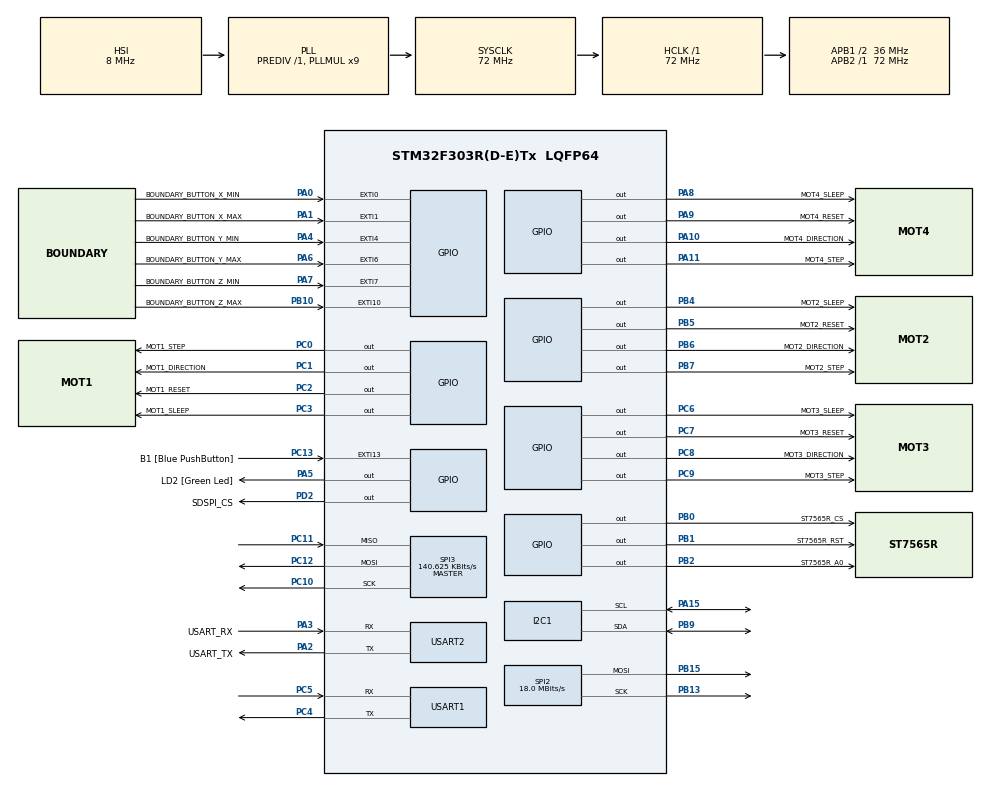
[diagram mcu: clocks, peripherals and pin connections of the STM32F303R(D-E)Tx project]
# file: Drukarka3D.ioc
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Mcu.Family=STM32F3
Mcu.Name=STM32F303R(D-E)Tx
Mcu.Package=LQFP64
NVIC.EXTI0_IRQn=true\:0\:0\:false\:false\:true\:true\:true
NVIC.EXTI15_10_IRQn=true\:0\:0\:false\:false\:true\:true\:true
NVIC.EXTI1_IRQn=true\:0\:0\:false\:false\:true\:true\:true
NVIC.EXTI4_IRQn=true\:0\:0\:false\:false\:true\:true\:true
NVIC.EXTI9_5_IRQn=true\:0\:0\:false\:false\:true\:true\:true
NVIC.PriorityGroup=NVIC_PRIORITYGROUP_0
NVIC.SPI2_IRQn=true\:0\:0\:false\:false\:true\:true\:true
NVIC.TIM1_UP_TIM16_IRQn=true\:0\:0\:false\:false\:true\:true\:true
NVIC.TIM6_DAC_IRQn=true\:0\:0\:false\:false\:true\:true\:true
NVIC.USART1_IRQn=true\:0\:0\:false\:false\:true\:true\:true
NVIC.USART2_IRQn=true\:0\:0\:false\:false\:true\:true\:true
PA0.GPIO_Label=BOUNDARY_BUTTON_X_MIN
PA0.GPIO_ModeDefaultEXTI=GPIO_MODE_IT_RISING_FALLING
PA0.GPIO_PuPd=GPIO_PULLUP
PA0.Signal=GPXTI0
PA1.GPIO_Label=BOUNDARY_BUTTON_X_MAX
PA1.GPIO_ModeDefaultEXTI=GPIO_MODE_IT_RISING_FALLING
PA1.GPIO_PuPd=GPIO_PULLUP
PA1.Signal=GPXTI1
PA10.GPIO_Label=MOT4_DIRECTION
PA10.Signal=GPIO_Output
PA11.GPIO_Label=MOT4_STEP
PA11.Signal=GPIO_Output
PA13.GPIO_Label=TMS
PA13.Mode=Serial_Wire
PA13.Signal=SYS_JTMS-SWDIO
PA14.GPIO_Label=TCK
PA14.Mode=Serial_Wire
PA14.Signal=SYS_JTCK-SWCLK
PA15.Mode=I2C
PA15.Signal=I2C1_SCL
PA2.GPIO_Label=USART_TX
PA2.GPIO_Mode=GPIO_MODE_AF_PP
PA2.GPIO_PuPd=GPIO_NOPULL
PA2.GPIO_Speed=GPIO_SPEED_FREQ_LOW
PA2.Mode=Asynchronous
PA2.Signal=USART2_TX
PA3.GPIO_Label=USART_RX
PA3.GPIO_Mode=GPIO_MODE_AF_PP
PA3.GPIO_PuPd=GPIO_NOPULL
PA3.GPIO_Speed=GPIO_SPEED_FREQ_LOW
PA3.Mode=Asynchronous
PA3.Signal=USART2_RX
PA4.GPIO_Label=BOUNDARY_BUTTON_Y_MIN
PA4.GPIO_PuPd=GPIO_NOPULL
PA4.Signal=GPXTI4
PA5.GPIO_Label=LD2 [Green Led]
PA5.GPIO_Mode=GPIO_MODE_OUTPUT_PP
PA5.GPIO_PuPd=GPIO_NOPULL
PA5.GPIO_Speed=GPIO_SPEED_FREQ_LOW
PA5.Signal=GPIO_Output
PA6.GPIO_Label=BOUNDARY_BUTTON_Y_MAX
PA6.Signal=GPXTI6
PA7.GPIO_Label=BOUNDARY_BUTTON_Z_MIN
PA7.GPIO_PuPd=GPIO_NOPULL
PA7.Signal=GPXTI7
PA8.GPIO_Label=MOT4_SLEEP
PA8.Signal=GPIO_Output
PA9.GPIO_Label=MOT4_RESET
PA9.Signal=GPIO_Output
PB0.GPIO_Label=ST7565R_CS
PB0.Signal=GPIO_Output
PB1.GPIO_Label=ST7565R_RST
PB1.Signal=GPIO_Output
PB10.GPIO_Label=BOUNDARY_BUTTON_Z_MAX
PB10.Signal=GPXTI10
PB13.Mode=TX_Only_Simplex_Unidirect_Master
PB13.Signal=SPI2_SCK
PB15.Mode=TX_Only_Simplex_Unidirect_Master
PB15.Signal=SPI2_MOSI
PB2.GPIO_Label=ST7565R_A0
PB2.Signal=GPIO_Output
PB3.GPIO_Label=SWO
PB3.Signal=SYS_JTDO-TRACESWO
PB4.GPIO_Label=MOT2_SLEEP
PB4.Signal=GPIO_Output
PB5.GPIO_Label=MOT2_RESET
PB5.Signal=GPIO_Output
PB6.GPIO_Label=MOT2_DIRECTION
PB6.Signal=GPIO_Output
PB7.GPIO_Label=MOT2_STEP
PB7.Signal=GPIO_Output
PB9.Mode=I2C
PB9.Signal=I2C1_SDA
PC0.GPIO_Label=MOT1_STEP
PC0.Signal=GPIO_Output
PC1.GPIO_Label=MOT1_DIRECTION
PC1.Signal=GPIO_Output
PC10.Mode=Full_Duplex_Master
PC10.Signal=SPI3_SCK
PC11.Mode=Full_Duplex_Master
PC11.Signal=SPI3_MISO
PC12.Mode=Full_Duplex_Master
PC12.Signal=SPI3_MOSI
PC13.GPIO_Label=B1 [Blue PushButton]
PC13.GPIO_ModeDefaultEXTI=GPIO_MODE_IT_FALLING
PC13.Signal=GPXTI13
PC14-OSC32_IN.Mode=LSE-External-Oscillator
PC14-OSC32_IN.Signal=RCC_OSC32_IN
PC15-OSC32_OUT.Mode=LSE-External-Oscillator
PC15-OSC32_OUT.Signal=RCC_OSC32_OUT
PC2.GPIO_Label=MOT1_RESET
PC2.Signal=GPIO_Output
PC3.GPIO_Label=MOT1_SLEEP
PC3.Signal=GPIO_Output
PC4.Mode=Asynchronous
PC4.Signal=USART1_TX
PC5.Mode=Asynchronous
PC5.Signal=USART1_RX
PC6.GPIO_Label=MOT3_SLEEP
PC6.Signal=GPIO_Output
PC7.GPIO_Label=MOT3_RESET
PC7.Signal=GPIO_Output
PC8.GPIO_Label=MOT3_DIRECTION
PC8.Signal=GPIO_Output
PC9.GPIO_Label=MOT3_STEP
PC9.Signal=GPIO_Output
PD2.GPIO_Label=SDSPI_CS
PD2.Signal=GPIO_Output
PF0-OSC_IN.Mode=HSE-External-Clock-Source
PF0-OSC_IN.Signal=RCC_OSC_IN
PF1-OSC_OUT.Signal=RCC_OSC_OUT
ProjectManager.HeapSize=0x200
ProjectManager.StackSize=0x400
ProjectManager.TargetToolchain=Makefile
RCC.AHBFreq_Value=72000000
RCC.APB1CLKDivider=RCC_HCLK_DIV2
RCC.APB1Freq_Value=36000000
RCC.APB1TimFreq_Value=72000000
RCC.APB2Freq_Value=72000000
RCC.APB2TimFreq_Value=72000000
RCC.CortexFreq_Value=72000000
RCC.HCLKFreq_Value=72000000
RCC.HSE_VALUE=8000000
RCC.HSI_VALUE=8000000
RCC.PLLM=8
RCC.PLLMUL=RCC_PLL_MUL9
RCC.PLLN=336
RCC.PLLP=RCC_PLLP_DIV4
RCC.PLLQ=7
RCC.RCC_PLLsource_Clock_Source_FROM_HSE=RCC_HSE_PREDIV_DIV2
RCC.SYSCLKFreq_VALUE=72000000
RCC.SYSCLKSourceVirtual=RCC_SYSCLKSOURCE_PLLCLK
RCC.USBFreq_Value=72000000
SPI2.CalculateBaudRate=18.0 MBits/s
SPI2.DataSize=SPI_DATASIZE_8BIT
SPI2.Direction=SPI_DIRECTION_2LINES
SPI2.Mode=SPI_MODE_MASTER
SPI2.VirtualType=VM_MASTER
SPI3.BaudRatePrescaler=SPI_BAUDRATEPRESCALER_256
SPI3.CalculateBaudRate=140.625 KBits/s
SPI3.DataSize=SPI_DATASIZE_8BIT
SPI3.Direction=SPI_DIRECTION_2LINES
SPI3.Mode=SPI_MODE_MASTER
SPI3.VirtualType=VM_MASTER
TIM16.Period=59999
TIM16.Prescaler=60
TIM6.Period=999
TIM6.Prescaler=71
USART1.VirtualMode-Asynchronous=VM_ASYNC
USART2.VirtualMode-Asynchronous=VM_ASYNC
VP_TIM16_VS_ClockSourceINT.Mode=Enable_Timer
VP_TIM6_VS_ClockSourceINT.Mode=Enable_Timer
board=NUCLEO-F303RE

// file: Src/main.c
/* USER CODE BEGIN Header */
/**
  ******************************************************************************
  * @file           : main.c
  * @brief          : Main program body
  ******************************************************************************
  * @attention
  *
  * <h2><center>&copy; Copyright (c) 2021 STMicroelectronics.
  * All rights reserved.</center></h2>
  *
  * This software component is licensed by ST under BSD 3-Clause license,
  * the "License"; You may not use this file except in compliance with the
  * License. You may obtain a copy of the License at:
  *                        opensource.org/licenses/BSD-3-Clause
  *
  ******************************************************************************
  */
/* USER CODE END Header */
#include "main.h"

/* USER CODE BEGIN Includes */
#include "Error_Codes.h"
#include "Project_Objects.h"
#include "Init_Manager.h"
#include "Manager.h"
#include "Manager_Communication.h"
#include <stdio.h>
/* USER CODE END Includes */

I2C_HandleTypeDef hi2c1;

SPI_HandleTypeDef hspi2;
SPI_HandleTypeDef hspi3;

TIM_HandleTypeDef htim6;
TIM_HandleTypeDef htim16;

UART_HandleTypeDef huart1;
UART_HandleTypeDef huart2;

/* USER CODE BEGIN PV */
extern DeviceSettings printerSettings;
/* USER CODE END PV */

void SystemClock_Config(void);
static void MX_GPIO_Init(void);
static void MX_SPI2_Init(void);
static void MX_USART2_UART_Init(void);
static void MX_TIM6_Init(void);
static void MX_SPI3_Init(void);
static void MX_USART1_UART_Init(void);
static void MX_I2C1_Init(void);
static void MX_TIM16_Init(void);

int main(void)
{
  /* USER CODE BEGIN 1 */
  Std_Err stdErr = STD_OK;
  /* USER CODE END 1 */

  /* MCU Configuration--------------------------------------------------------*/

  /* Reset of all peripherals, Initializes the Flash interface and the Systick. */
  HAL_Init();

  /* Configure the system clock */
  SystemClock_Config();

  /* Initialize all configured peripherals */
  MX_GPIO_Init();
  MX_SPI2_Init();
  MX_USART2_UART_Init();
  MX_TIM6_Init();
  MX_SPI3_Init();
  MX_USART1_UART_Init();
  MX_I2C1_Init();
  MX_TIM16_Init();
  /* USER CODE BEGIN 2 */
  stdErr = init_manager(&printerSettings);
  /* USER CODE END 2 */

  /* Infinite loop */
  /* USER CODE BEGIN WHILE */

  HAL_GPIO_WritePin(LD2_GPIO_Port, LD2_Pin, GPIO_PIN_RESET); //DEBUG
  while (1)
  {
    stdErr = execute_step(&printerSettings);
    if(stdErr != STD_OK)
    {
      break;
    }
    /* USER CODE END WHILE */

    /* USER CODE BEGIN 3 */
  }

  printerSettings.error = stdErr;
  Error_Handler();
  /* USER CODE END 3 */
}

void SystemClock_Config(void)
{
  RCC_OscInitTypeDef RCC_OscInitStruct = {0};
  RCC_ClkInitTypeDef RCC_ClkInitStruct = {0};
  RCC_PeriphCLKInitTypeDef PeriphClkInit = {0};

  /** Initializes the RCC Oscillators according to the specified parameters
  * in the RCC_OscInitTypeDef structure.
  */
  RCC_OscInitStruct.OscillatorType = RCC_OSCILLATORTYPE_HSI;
  RCC_OscInitStruct.HSIState = RCC_HSI_ON;
  RCC_OscInitStruct.HSICalibrationValue = RCC_HSICALIBRATION_DEFAULT;
  RCC_OscInitStruct.PLL.PLLState = RCC_PLL_ON;
  RCC_OscInitStruct.PLL.PLLSource = RCC_PLLSOURCE_HSI;
  RCC_OscInitStruct.PLL.PLLMUL = RCC_PLL_MUL9;
  RCC_OscInitStruct.PLL.PREDIV = RCC_PREDIV_DIV1;
  if (HAL_RCC_OscConfig(&RCC_OscInitStruct) != HAL_OK)
  {
    Error_Handler();
  }
  /** Initializes the CPU, AHB and APB buses clocks
  */
  RCC_ClkInitStruct.ClockType = RCC_CLOCKTYPE_HCLK|RCC_CLOCKTYPE_SYSCLK
                              |RCC_CLOCKTYPE_PCLK1|RCC_CLOCKTYPE_PCLK2;
  RCC_ClkInitStruct.SYSCLKSource = RCC_SYSCLKSOURCE_PLLCLK;
  RCC_ClkInitStruct.AHBCLKDivider = RCC_SYSCLK_DIV1;
  RCC_ClkInitStruct.APB1CLKDivider = RCC_HCLK_DIV2;
  RCC_ClkInitStruct.APB2CLKDivider = RCC_HCLK_DIV1;

  if (HAL_RCC_ClockConfig(&RCC_ClkInitStruct, FLASH_LATENCY_2) != HAL_OK)
  {
    Error_Handler();
  }
  PeriphClkInit.PeriphClockSelection = RCC_PERIPHCLK_USART1|RCC_PERIPHCLK_USART2
                              |RCC_PERIPHCLK_I2C1|RCC_PERIPHCLK_TIM16;
  PeriphClkInit.Usart1ClockSelection = RCC_USART1CLKSOURCE_PCLK2;
  PeriphClkInit.Usart2ClockSelection = RCC_USART2CLKSOURCE_PCLK1;
  PeriphClkInit.I2c1ClockSelection = RCC_I2C1CLKSOURCE_HSI;
  PeriphClkInit.Tim16ClockSelection = RCC_TIM16CLK_HCLK;
  if (HAL_RCCEx_PeriphCLKConfig(&PeriphClkInit) != HAL_OK)
  {
    Error_Handler();
  }
}

static void MX_I2C1_Init(void)
{

  hi2c1.Instance = I2C1;
  hi2c1.Init.Timing = 0x2000090E;
  hi2c1.Init.OwnAddress1 = 0;
  hi2c1.Init.AddressingMode = I2C_ADDRESSINGMODE_7BIT;
  hi2c1.Init.DualAddressMode = I2C_DUALADDRESS_DISABLE;
  hi2c1.Init.OwnAddress2 = 0;
  hi2c1.Init.OwnAddress2Masks = I2C_OA2_NOMASK;
  hi2c1.Init.GeneralCallMode = I2C_GENERALCALL_DISABLE;
  hi2c1.Init.NoStretchMode = I2C_NOSTRETCH_DISABLE;
  if (HAL_I2C_Init(&hi2c1) != HAL_OK)
  {
    Error_Handler();
  }
  /** Configure Analogue filter
  */
  if (HAL_I2CEx_ConfigAnalogFilter(&hi2c1, I2C_ANALOGFILTER_ENABLE) != HAL_OK)
  {
    Error_Handler();
  }
  /** Configure Digital filter
  */
  if (HAL_I2CEx_ConfigDigitalFilter(&hi2c1, 0) != HAL_OK)
  {
    Error_Handler();
  }

}

static void MX_SPI2_Init(void)
{

  /* SPI2 parameter configuration*/
  hspi2.Instance = SPI2;
  hspi2.Init.Mode = SPI_MODE_MASTER;
  hspi2.Init.Direction = SPI_DIRECTION_2LINES;
  hspi2.Init.DataSize = SPI_DATASIZE_8BIT;
  hspi2.Init.CLKPolarity = SPI_POLARITY_LOW;
  hspi2.Init.CLKPhase = SPI_PHASE_1EDGE;
  hspi2.Init.NSS = SPI_NSS_SOFT;
  hspi2.Init.BaudRatePrescaler = SPI_BAUDRATEPRESCALER_2;
  hspi2.Init.FirstBit = SPI_FIRSTBIT_MSB;
  hspi2.Init.TIMode = SPI_TIMODE_DISABLE;
  hspi2.Init.CRCCalculation = SPI_CRCCALCULATION_DISABLE;
  hspi2.Init.CRCPolynomial = 7;
  hspi2.Init.CRCLength = SPI_CRC_LENGTH_DATASIZE;
  hspi2.Init.NSSPMode = SPI_NSS_PULSE_ENABLE;
  if (HAL_SPI_Init(&hspi2) != HAL_OK)
  {
    Error_Handler();
  }

}

static void MX_SPI3_Init(void)
{

  /* SPI3 parameter configuration*/
  hspi3.Instance = SPI3;
  hspi3.Init.Mode = SPI_MODE_MASTER;
  hspi3.Init.Direction = SPI_DIRECTION_2LINES;
  hspi3.Init.DataSize = SPI_DATASIZE_8BIT;
  hspi3.Init.CLKPolarity = SPI_POLARITY_LOW;
  hspi3.Init.CLKPhase = SPI_PHASE_1EDGE;
  hspi3.Init.NSS = SPI_NSS_SOFT;
  hspi3.Init.BaudRatePrescaler = SPI_BAUDRATEPRESCALER_256;
  hspi3.Init.FirstBit = SPI_FIRSTBIT_MSB;
  hspi3.Init.TIMode = SPI_TIMODE_DISABLE;
  hspi3.Init.CRCCalculation = SPI_CRCCALCULATION_DISABLE;
  hspi3.Init.CRCPolynomial = 7;
  hspi3.Init.CRCLength = SPI_CRC_LENGTH_DATASIZE;
  hspi3.Init.NSSPMode = SPI_NSS_PULSE_ENABLE;
  if (HAL_SPI_Init(&hspi3) != HAL_OK)
  {
    Error_Handler();
  }

}

static void MX_TIM6_Init(void)
{

  TIM_MasterConfigTypeDef sMasterConfig = {0};

  htim6.Instance = TIM6;
  htim6.Init.Prescaler = 71;
  htim6.Init.CounterMode = TIM_COUNTERMODE_UP;
  htim6.Init.Period = 999;
  htim6.Init.AutoReloadPreload = TIM_AUTORELOAD_PRELOAD_DISABLE;
  if (HAL_TIM_Base_Init(&htim6) != HAL_OK)
  {
    Error_Handler();
  }
  sMasterConfig.MasterOutputTrigger = TIM_TRGO_RESET;
  sMasterConfig.MasterSlaveMode = TIM_MASTERSLAVEMODE_DISABLE;
  if (HAL_TIMEx_MasterConfigSynchronization(&htim6, &sMasterConfig) != HAL_OK)
  {
    Error_Handler();
  }

}

static void MX_TIM16_Init(void)
{

  htim16.Instance = TIM16;
  htim16.Init.Prescaler = 60;
  htim16.Init.CounterMode = TIM_COUNTERMODE_UP;
  htim16.Init.Period = 59999;
  htim16.Init.ClockDivision = TIM_CLOCKDIVISION_DIV1;
  htim16.Init.RepetitionCounter = 0;
  htim16.Init.AutoReloadPreload = TIM_AUTORELOAD_PRELOAD_DISABLE;
  if (HAL_TIM_Base_Init(&htim16) != HAL_OK)
  {
    Error_Handler();
  }

}

static void MX_USART1_UART_Init(void)
{

  huart1.Instance = USART1;
  huart1.Init.BaudRate = 38400;
  huart1.Init.WordLength = UART_WORDLENGTH_8B;
  huart1.Init.StopBits = UART_STOPBITS_1;
  huart1.Init.Parity = UART_PARITY_NONE;
  huart1.Init.Mode = UART_MODE_TX_RX;
  huart1.Init.HwFlowCtl = UART_HWCONTROL_NONE;
  huart1.Init.OverSampling = UART_OVERSAMPLING_16;
  huart1.Init.OneBitSampling = UART_ONE_BIT_SAMPLE_DISABLE;
  huart1.AdvancedInit.AdvFeatureInit = UART_ADVFEATURE_NO_INIT;
  if (HAL_UART_Init(&huart1) != HAL_OK)
  {
    Error_Handler();
  }

}

static void MX_USART2_UART_Init(void)
{

  huart2.Instance = USART2;
  huart2.Init.BaudRate = 38400;
  huart2.Init.WordLength = UART_WORDLENGTH_8B;
  huart2.Init.StopBits = UART_STOPBITS_1;
  huart2.Init.Parity = UART_PARITY_NONE;
  huart2.Init.Mode = UART_MODE_TX_RX;
  huart2.Init.HwFlowCtl = UART_HWCONTROL_NONE;
  huart2.Init.OverSampling = UART_OVERSAMPLING_16;
  huart2.Init.OneBitSampling = UART_ONE_BIT_SAMPLE_DISABLE;
  huart2.AdvancedInit.AdvFeatureInit = UART_ADVFEATURE_NO_INIT;
  if (HAL_UART_Init(&huart2) != HAL_OK)
  {
    Error_Handler();
  }

}

static void MX_GPIO_Init(void)
{
  GPIO_InitTypeDef GPIO_InitStruct = {0};

  /* GPIO Ports Clock Enable */
  __HAL_RCC_GPIOC_CLK_ENABLE();
  __HAL_RCC_GPIOF_CLK_ENABLE();
  __HAL_RCC_GPIOA_CLK_ENABLE();
  __HAL_RCC_GPIOB_CLK_ENABLE();
  __HAL_RCC_GPIOD_CLK_ENABLE();

  /*Configure GPIO pin Output Level */
  HAL_GPIO_WritePin(GPIOC, MOT1_STEP_Pin|MOT1_DIRECTION_Pin|MOT1_RESET_Pin|MOT1_SLEEP_Pin
                          |MOT3_SLEEP_Pin|MOT3_RESET_Pin|MOT3_DIRECTION_Pin|MOT3_STEP_Pin, GPIO_PIN_RESET);

  /*Configure GPIO pin Output Level */
  HAL_GPIO_WritePin(GPIOA, LD2_Pin|MOT4_SLEEP_Pin|MOT4_RESET_Pin|MOT4_DIRECTION_Pin
                          |MOT4_STEP_Pin, GPIO_PIN_RESET);

  /*Configure GPIO pin Output Level */
  HAL_GPIO_WritePin(GPIOB, ST7565R_CS_Pin|ST7565R_RST_Pin|ST7565R_A0_Pin|MOT2_SLEEP_Pin
                          |MOT2_RESET_Pin|MOT2_DIRECTION_Pin|MOT2_STEP_Pin, GPIO_PIN_RESET);

  /*Configure GPIO pin Output Level */
  HAL_GPIO_WritePin(SDSPI_CS_GPIO_Port, SDSPI_CS_Pin, GPIO_PIN_RESET);

  /*Configure GPIO pin : B1_Pin */
  GPIO_InitStruct.Pin = B1_Pin;
  GPIO_InitStruct.Mode = GPIO_MODE_IT_FALLING;
  GPIO_InitStruct.Pull = GPIO_NOPULL;
  HAL_GPIO_Init(B1_GPIO_Port, &GPIO_InitStruct);

  /*Configure GPIO pins : MOT1_STEP_Pin MOT1_DIRECTION_Pin MOT1_RESET_Pin MOT1_SLEEP_Pin
                           MOT3_SLEEP_Pin MOT3_RESET_Pin MOT3_DIRECTION_Pin MOT3_STEP_Pin */
  GPIO_InitStruct.Pin = MOT1_STEP_Pin|MOT1_DIRECTION_Pin|MOT1_RESET_Pin|MOT1_SLEEP_Pin
                          |MOT3_SLEEP_Pin|MOT3_RESET_Pin|MOT3_DIRECTION_Pin|MOT3_STEP_Pin;
  GPIO_InitStruct.Mode = GPIO_MODE_OUTPUT_PP;
  GPIO_InitStruct.Pull = GPIO_NOPULL;
  GPIO_InitStruct.Speed = GPIO_SPEED_FREQ_LOW;
  HAL_GPIO_Init(GPIOC, &GPIO_InitStruct);

  /*Configure GPIO pins : BOUNDARY_BUTTON_X_MIN_Pin BOUNDARY_BUTTON_X_MAX_Pin */
  GPIO_InitStruct.Pin = BOUNDARY_BUTTON_X_MIN_Pin|BOUNDARY_BUTTON_X_MAX_Pin;
  GPIO_InitStruct.Mode = GPIO_MODE_IT_RISING_FALLING;
  GPIO_InitStruct.Pull = GPIO_PULLUP;
  HAL_GPIO_Init(GPIOA, &GPIO_InitStruct);

  /*Configure GPIO pins : BOUNDARY_BUTTON_Y_MIN_Pin BOUNDARY_BUTTON_Y_MAX_Pin BOUNDARY_BUTTON_Z_MIN_Pin */
  GPIO_InitStruct.Pin = BOUNDARY_BUTTON_Y_MIN_Pin|BOUNDARY_BUTTON_Y_MAX_Pin|BOUNDARY_BUTTON_Z_MIN_Pin;
  GPIO_InitStruct.Mode = GPIO_MODE_IT_RISING;
  GPIO_InitStruct.Pull = GPIO_NOPULL;
  HAL_GPIO_Init(GPIOA, &GPIO_InitStruct);

  /*Configure GPIO pins : LD2_Pin MOT4_SLEEP_Pin MOT4_RESET_Pin MOT4_DIRECTION_Pin
                           MOT4_STEP_Pin */
  GPIO_InitStruct.Pin = LD2_Pin|MOT4_SLEEP_Pin|MOT4_RESET_Pin|MOT4_DIRECTION_Pin
                          |MOT4_STEP_Pin;
  GPIO_InitStruct.Mode = GPIO_MODE_OUTPUT_PP;
  GPIO_InitStruct.Pull = GPIO_NOPULL;
  GPIO_InitStruct.Speed = GPIO_SPEED_FREQ_LOW;
  HAL_GPIO_Init(GPIOA, &GPIO_InitStruct);

  /*Configure GPIO pins : ST7565R_CS_Pin ST7565R_RST_Pin ST7565R_A0_Pin MOT2_SLEEP_Pin
                           MOT2_RESET_Pin MOT2_DIRECTION_Pin MOT2_STEP_Pin */
  GPIO_InitStruct.Pin = ST7565R_CS_Pin|ST7565R_RST_Pin|ST7565R_A0_Pin|MOT2_SLEEP_Pin
                          |MOT2_RESET_Pin|MOT2_DIRECTION_Pin|MOT2_STEP_Pin;
  GPIO_InitStruct.Mode = GPIO_MODE_OUTPUT_PP;
  GPIO_InitStruct.Pull = GPIO_NOPULL;
  GPIO_InitStruct.Speed = GPIO_SPEED_FREQ_LOW;
  HAL_GPIO_Init(GPIOB, &GPIO_InitStruct);

  /*Configure GPIO pin : BOUNDARY_BUTTON_Z_MAX_Pin */
  GPIO_InitStruct.Pin = BOUNDARY_BUTTON_Z_MAX_Pin;
  GPIO_InitStruct.Mode = GPIO_MODE_IT_RISING;
  GPIO_InitStruct.Pull = GPIO_NOPULL;
  HAL_GPIO_Init(BOUNDARY_BUTTON_Z_MAX_GPIO_Port, &GPIO_InitStruct);

  /*Configure GPIO pin : SDSPI_CS_Pin */
  GPIO_InitStruct.Pin = SDSPI_CS_Pin;
  GPIO_InitStruct.Mode = GPIO_MODE_OUTPUT_PP;
  GPIO_InitStruct.Pull = GPIO_NOPULL;
  GPIO_InitStruct.Speed = GPIO_SPEED_FREQ_LOW;
  HAL_GPIO_Init(SDSPI_CS_GPIO_Port, &GPIO_InitStruct);

  /* EXTI interrupt init*/
  HAL_NVIC_SetPriority(EXTI0_IRQn, 0, 0);
  HAL_NVIC_EnableIRQ(EXTI0_IRQn);

  HAL_NVIC_SetPriority(EXTI1_IRQn, 0, 0);
  HAL_NVIC_EnableIRQ(EXTI1_IRQn);

  HAL_NVIC_SetPriority(EXTI4_IRQn, 0, 0);
  HAL_NVIC_EnableIRQ(EXTI4_IRQn);

  HAL_NVIC_SetPriority(EXTI9_5_IRQn, 0, 0);
  HAL_NVIC_EnableIRQ(EXTI9_5_IRQn);

  HAL_NVIC_SetPriority(EXTI15_10_IRQn, 0, 0);
  HAL_NVIC_EnableIRQ(EXTI15_10_IRQn);

}

void Error_Handler(void)
{
  /* USER CODE BEGIN Error_Handler_Debug */
  /* User can add his own implementation to report the HAL error return state */
  __disable_irq();

  Std_Err stdErr = printerSettings.error;
  char msg_buff[50];
  uint8_t msgSize;

  msgSize = sprintf(msg_buff, "MAIN_LOOP_ERROR: %s\n", get_str_error_code(stdErr));
  HAL_UART_Transmit(&huart2, (uint8_t*)msg_buff, msgSize, 1000);

  msgSize = sprintf(msg_buff, "ERR_DATA:\n");
  HAL_UART_Transmit(&huart2, (uint8_t*)msg_buff, msgSize, 1000);

  msgSize = sprintf(msg_buff, "X: pos:%d pos_err:%d\n",
      printerSettings.motors[0]->data.position, printerSettings.motors[0]->data.position_error);
  HAL_UART_Transmit(&huart2, (uint8_t*)msg_buff, msgSize, 1000);

  msgSize = sprintf(msg_buff, "Y: pos:%d pos_err:%d\n",
      printerSettings.motors[1]->data.position, printerSettings.motors[1]->data.position_error);
  HAL_UART_Transmit(&huart2, (uint8_t*)msg_buff, msgSize, 1000);

  msgSize = sprintf(msg_buff, "Z: pos:%d pos_err:%d\n",
      printerSettings.motors[2]->data.position, printerSettings.motors[2]->data.position_error);
  HAL_UART_Transmit(&huart2, (uint8_t*)msg_buff, msgSize, 1000);

  msgSize = sprintf(msg_buff, "E: pos:%d pos_err:%d\n",
      printerSettings.motors[3]->data.position, printerSettings.motors[3]->data.position_error);
  HAL_UART_Transmit(&huart2, (uint8_t*)msg_buff, msgSize, 1000);

  msgSize = sprintf(msg_buff, "SD_CARD_LINE: %d\n",
      printerSettings.communication->sys_comm.sd->program_line_counter);
  HAL_UART_Transmit(&huart2, (uint8_t*)msg_buff, msgSize, 1000);

  HAL_GPIO_WritePin(LD2_GPIO_Port, LD2_Pin, GPIO_PIN_SET); // DEBUG
  HAL_Delay(1000);

  while (1)
  {
  }
  /* USER CODE END Error_Handler_Debug */
}

/************************ (C) COPYRIGHT STMicroelectronics *****END OF FILE****/
